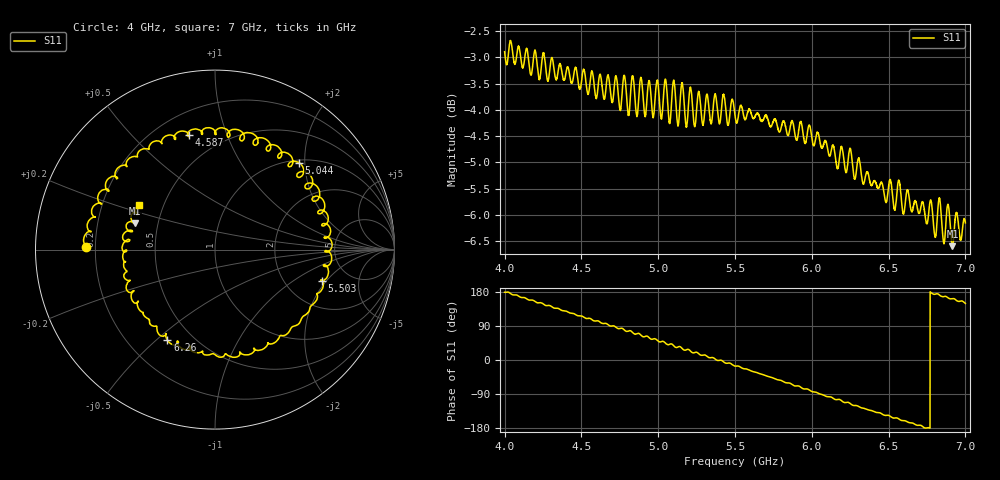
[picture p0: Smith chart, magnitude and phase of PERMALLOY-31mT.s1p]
#  HZ  S  RI  R  50.0
! Rohde & Schwarz ZVL13 2Ports - Version 3.31 - 1303.6509k13 SN: 101088
! Date: 2023-03-03 14:37:02
! Data & Calibration Information:
! Trc2:S21(TOSM)
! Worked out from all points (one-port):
!   4000 points, 4 GHz to 7 GHz, reference 50 ohm
!   lowest |S11| = -6.6 dB at 6.916 GHz (marker M1), VSWR 2.76, Z = 18.5 + j6.92 ohm
!   |S11| at or under -10 dB: nowhere
!   S11 on the Smith chart (normalised r, x): 4 GHz: 0.17, +0.01; 4.587 GHz: 0.33, +0.75; 5.044 GHz: 1.05, +1.86; 5.503 GHz: 3.17, -1.79; 6.26 GHz: 0.36, -0.54; 7 GHz: 0.36, +0.24
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4e9  -0.7164 0.0158
4.024006e9  -0.7124 0.0118
4.194299e9  -0.6528 0.2966
4.375094e9  -0.4431 0.5195
4.51838e9  -0.2582 0.638
4.587397e9  -0.144 0.6411
4.674419e9  -0.0351 0.6799
4.750188e9  0.0778 0.6276
4.777194e9  0.1157 0.67
4.883721e9  0.2611 0.623
5.043511e9  0.4661 0.4851
5.125281e9  0.5097 0.3388
5.16129e9  0.5832 0.3127
5.186047e9  0.5408 0.2811
5.213803e9  0.6114 0.2476
5.31958e9  0.6444 0.1018
5.500375e9  0.5986 -0.1738
5.502626e9  0.5946 -0.1741
5.645911e9  0.5199 -0.3481
5.875469e9  0.2536 -0.5593
6.03976e9  0.0291 -0.5989
6.250563e9  -0.244 -0.5254
6.259565e9  -0.2652 -0.5041
6.461365e9  -0.4304 -0.318
6.625656e9  -0.508 -0.1471
6.829707e9  -0.5147 0.0725
6.915979e9  -0.4448 0.146
7e9  -0.4237 0.2512
